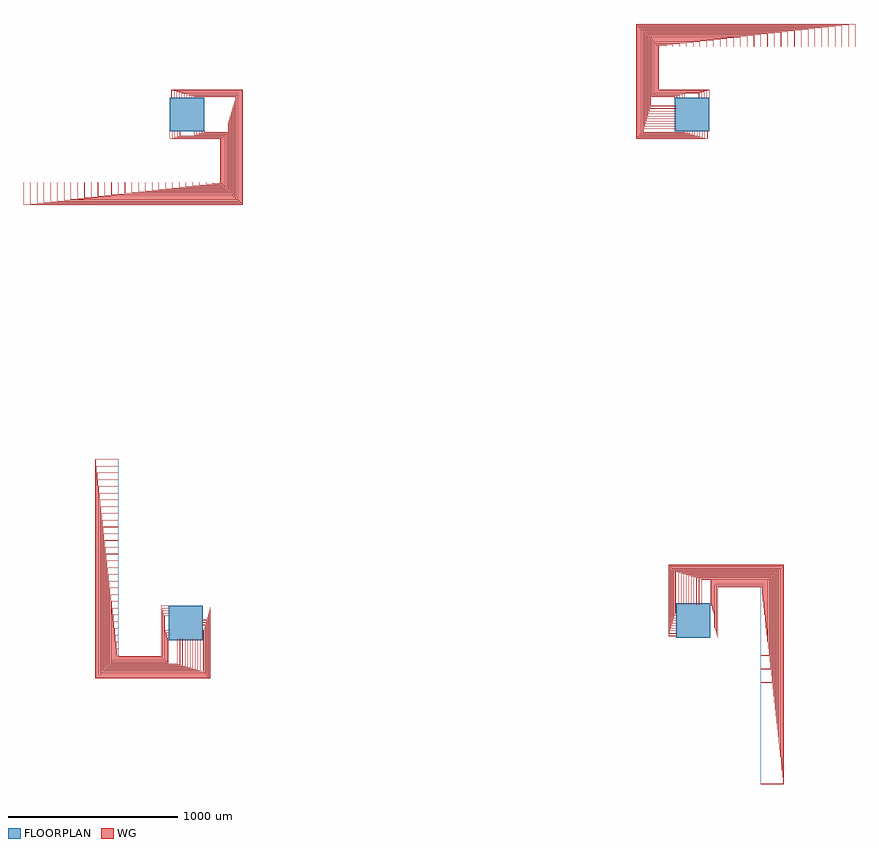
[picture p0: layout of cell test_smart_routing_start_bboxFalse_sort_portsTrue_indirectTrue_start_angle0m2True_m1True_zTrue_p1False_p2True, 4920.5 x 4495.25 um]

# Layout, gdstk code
import gdstk
lib = gdstk.Library(unit=1e-6, precision=1e-09)
def R(c, l, rs):  # rectangles x0, y0, x1, y1
    for r in rs: c.add(gdstk.rectangle(r[:2], r[2:], *l))
def P(c, l, *ps):  # polygons
    for p in ps: c.add(gdstk.Polygon(p, *l))
WG = (1, 0)
FLOORPLAN = (10, 0)

test_smart_routing_start = lib.new_cell('test_smart_routing_start_bboxFalse_sort_portsTrue_indirectTrue_start_angle0m2True_m1True_zTrue_p1False_p2True')
P(test_smart_routing_start, WG, [(3094.75,3100),(3094.75,3144.5),(2795.25,3144.5),(2795.25,3404.5),(2800.25,3404.5),(2800.25,3400),(2799.75,3400),(2799.75,3404),(2795.75,3404),(2795.75,3145),(3095.25,3145),(3095.25,3100)],
  [(3079.75,3100),(3079.75,3140),(2790.75,3140),(2790.75,3409),(2840.25,3409),(2840.25,3400),(2839.75,3400),(2839.75,3408.5),(2791.25,3408.5),(2791.25,3140.5),(3080.25,3140.5),(3080.25,3100)],
  [(3064.75,3100),(3064.75,3135.5),(2786.25,3135.5),(2786.25,3413.5),(2880.25,3413.5),(2880.25,3400),(2879.75,3400),(2879.75,3413),(2786.75,3413),(2786.75,3136),(3065.25,3136),(3065.25,3100)],
  [(3049.75,3100),(3049.75,3131),(2781.75,3131),(2781.75,3418),(2920.25,3418),(2920.25,3400),(2919.75,3400),(2919.75,3417.5),(2782.25,3417.5),(2782.25,3131.5),(3050.25,3131.5),(3050.25,3100)],
  [(3034.75,3100),(3034.75,3126.5),(2777.25,3126.5),(2777.25,3422.5),(2960.25,3422.5),(2960.25,3400),(2959.75,3400),(2959.75,3422),(2777.75,3422),(2777.75,3127),(3035.25,3127),(3035.25,3100)],
  [(2949.75,3100),(2949.75,3122),(2772.75,3122),(2772.75,3427),(3000.25,3427),(3000.25,3400),(2999.75,3400),(2999.75,3426.5),(2773.25,3426.5),(2773.25,3122.5),(2950.25,3122.5),(2950.25,3100)],
  [(2934.75,3100),(2934.75,3117.5),(2768.25,3117.5),(2768.25,3431.5),(3040.25,3431.5),(3040.25,3400),(3039.75,3400),(3039.75,3431),(2768.75,3431),(2768.75,3118),(2935.25,3118),(2935.25,3100)],
  [(2919.75,3100),(2919.75,3113),(2763.75,3113),(2763.75,3436),(3080.25,3436),(3080.25,3400),(3079.75,3400),(3079.75,3435.5),(2764.25,3435.5),(2764.25,3113.5),(2920.25,3113.5),(2920.25,3100)],
  [(2904.75,3100),(2904.75,3108.5),(2759.25,3108.5),(2759.25,3440.5),(3120.25,3440.5),(3120.25,3400),(3119.75,3400),(3119.75,3440),(2759.75,3440),(2759.75,3109),(2905.25,3109),(2905.25,3100)],
  [(2889.75,3100),(2889.75,3104),(2754.75,3104),(2754.75,3445),(3160.25,3445),(3160.25,3400),(3159.75,3400),(3159.75,3444.5),(2755.25,3444.5),(2755.25,3104.5),(2890.25,3104.5),(2890.25,3100)],
  [(2750.25,3049.75),(2750.25,3449.5),(3200.25,3449.5),(3200.25,3400),(3199.75,3400),(3199.75,3449),(2750.75,3449),(2750.75,3050.25),(2900,3050.25),(2900,3049.75)],
  [(2745.75,3034.75),(2745.75,3454),(3240.25,3454),(3240.25,3400),(3239.75,3400),(3239.75,3453.5),(2746.25,3453.5),(2746.25,3035.25),(2900,3035.25),(2900,3034.75)],
  [(2741.25,3019.75),(2741.25,3458.5),(3280.25,3458.5),(3280.25,3400),(3279.75,3400),(3279.75,3458),(2741.75,3458),(2741.75,3020.25),(2900,3020.25),(2900,3019.75)],
  [(2736.75,3004.75),(2736.75,3463),(3320.25,3463),(3320.25,3400),(3319.75,3400),(3319.75,3462.5),(2737.25,3462.5),(2737.25,3005.25),(2900,3005.25),(2900,3004.75)],
  [(2732.25,2989.75),(2732.25,3467.5),(3360.25,3467.5),(3360.25,3400),(3359.75,3400),(3359.75,3467),(2732.75,3467),(2732.75,2990.25),(2900,2990.25),(2900,2989.75)],
  [(2727.75,2974.75),(2727.75,3472),(3400.25,3472),(3400.25,3400),(3399.75,3400),(3399.75,3471.5),(2728.25,3471.5),(2728.25,2975.25),(2900,2975.25),(2900,2974.75)],
  [(2723.25,2959.75),(2723.25,3476.5),(3440.25,3476.5),(3440.25,3400),(3439.75,3400),(3439.75,3476),(2723.75,3476),(2723.75,2960.25),(2900,2960.25),(2900,2959.75)],
  [(2718.75,2944.75),(2718.75,3481),(3480.25,3481),(3480.25,3400),(3479.75,3400),(3479.75,3480.5),(2719.25,3480.5),(2719.25,2945.25),(2900,2945.25),(2900,2944.75)],
  [(2714.25,2929.75),(2714.25,3485.5),(3520.25,3485.5),(3520.25,3400),(3519.75,3400),(3519.75,3485),(2714.75,3485),(2714.75,2930.25),(2900,2930.25),(2900,2929.75)],
  [(2709.75,2914.75),(2709.75,3490),(3560.25,3490),(3560.25,3400),(3559.75,3400),(3559.75,3489.5),(2710.25,3489.5),(2710.25,2915.25),(2900,2915.25),(2900,2914.75)],
  [(2705.25,2895.5),(2705.25,3494.5),(3600.25,3494.5),(3600.25,3400),(3599.75,3400),(3599.75,3494),(2705.75,3494),(2705.75,2896),(2949.75,2896),(2949.75,2900),(2950.25,2900),(2950.25,2895.5)],
  [(2700.75,2891),(2700.75,3499),(3640.25,3499),(3640.25,3400),(3639.75,3400),(3639.75,3498.5),(2701.25,3498.5),(2701.25,2891.5),(2964.75,2891.5),(2964.75,2900),(2965.25,2900),(2965.25,2891)],
  [(2696.25,2886.5),(2696.25,3503.5),(3680.25,3503.5),(3680.25,3400),(3679.75,3400),(3679.75,3503),(2696.75,3503),(2696.75,2887),(2979.75,2887),(2979.75,2900),(2980.25,2900),(2980.25,2886.5)],
  [(2691.75,2882),(2691.75,3508),(3720.25,3508),(3720.25,3400),(3719.75,3400),(3719.75,3507.5),(2692.25,3507.5),(2692.25,2882.5),(2994.75,2882.5),(2994.75,2900),(2995.25,2900),(2995.25,2882)],
  [(2687.25,2877.5),(2687.25,3512.5),(3760.25,3512.5),(3760.25,3400),(3759.75,3400),(3759.75,3512),(2687.75,3512),(2687.75,2878),(3009.75,2878),(3009.75,2900),(3010.25,2900),(3010.25,2877.5)],
  [(2682.75,2873),(2682.75,3517),(3800.25,3517),(3800.25,3400),(3799.75,3400),(3799.75,3516.5),(2683.25,3516.5),(2683.25,2873.5),(3024.75,2873.5),(3024.75,2900),(3025.25,2900),(3025.25,2873)],
  [(2678.25,2868.5),(2678.25,3521.5),(3840.25,3521.5),(3840.25,3400),(3839.75,3400),(3839.75,3521),(2678.75,3521),(2678.75,2869),(3039.75,2869),(3039.75,2900),(3040.25,2900),(3040.25,2868.5)],
  [(2673.75,2864),(2673.75,3526),(3880.25,3526),(3880.25,3400),(3879.75,3400),(3879.75,3525.5),(2674.25,3525.5),(2674.25,2864.5),(3054.75,2864.5),(3054.75,2900),(3055.25,2900),(3055.25,2864)],
  [(2669.25,2859.5),(2669.25,3530.5),(3920.25,3530.5),(3920.25,3400),(3919.75,3400),(3919.75,3530),(2669.75,3530),(2669.75,2860),(3069.75,2860),(3069.75,2900),(3070.25,2900),(3070.25,2859.5)],
  [(2664.75,2855),(2664.75,3535),(3960.25,3535),(3960.25,3400),(3959.75,3400),(3959.75,3534.5),(2665.25,3534.5),(2665.25,2855.5),(3084.75,2855.5),(3084.75,2900),(3085.25,2900),(3085.25,2855)],
  [(199.75,2595.5),(199.75,2600),(200.25,2600),(200.25,2596),(204.25,2596),(204.25,2855),(-95.25,2855),(-95.25,2900),(-94.75,2900),(-94.75,2855.5),(204.75,2855.5),(204.75,2595.5)],
  [(159.75,2591),(159.75,2600),(160.25,2600),(160.25,2591.5),(208.75,2591.5),(208.75,2859.5),(-80.25,2859.5),(-80.25,2900),(-79.75,2900),(-79.75,2860),(209.25,2860),(209.25,2591)],
  [(119.75,2586.5),(119.75,2600),(120.25,2600),(120.25,2587),(213.25,2587),(213.25,2864),(-65.25,2864),(-65.25,2900),(-64.75,2900),(-64.75,2864.5),(213.75,2864.5),(213.75,2586.5)],
  [(79.75,2582),(79.75,2600),(80.25,2600),(80.25,2582.5),(217.75,2582.5),(217.75,2868.5),(-50.25,2868.5),(-50.25,2900),(-49.75,2900),(-49.75,2869),(218.25,2869),(218.25,2582)],
  [(39.75,2577.5),(39.75,2600),(40.25,2600),(40.25,2578),(222.25,2578),(222.25,2873),(-35.25,2873),(-35.25,2900),(-34.75,2900),(-34.75,2873.5),(222.75,2873.5),(222.75,2577.5)],
  [(-0.25,2573),(-0.25,2600),(0.25,2600),(0.25,2573.5),(226.75,2573.5),(226.75,2877.5),(49.75,2877.5),(49.75,2900),(50.25,2900),(50.25,2878),(227.25,2878),(227.25,2573)],
  [(-40.25,2568.5),(-40.25,2600),(-39.75,2600),(-39.75,2569),(231.25,2569),(231.25,2882),(64.75,2882),(64.75,2900),(65.25,2900),(65.25,2882.5),(231.75,2882.5),(231.75,2568.5)],
  [(-80.25,2564),(-80.25,2600),(-79.75,2600),(-79.75,2564.5),(235.75,2564.5),(235.75,2886.5),(79.75,2886.5),(79.75,2900),(80.25,2900),(80.25,2887),(236.25,2887),(236.25,2564)],
  [(-120.25,2559.5),(-120.25,2600),(-119.75,2600),(-119.75,2560),(240.25,2560),(240.25,2891),(94.75,2891),(94.75,2900),(95.25,2900),(95.25,2891.5),(240.75,2891.5),(240.75,2559.5)],
  [(-160.25,2555),(-160.25,2600),(-159.75,2600),(-159.75,2555.5),(244.75,2555.5),(244.75,2895.5),(109.75,2895.5),(109.75,2900),(110.25,2900),(110.25,2896),(245.25,2896),(245.25,2555)],
  [(-200.25,2550.5),(-200.25,2600),(-199.75,2600),(-199.75,2551),(249.25,2551),(249.25,2949.75),(100,2949.75),(100,2950.25),(249.75,2950.25),(249.75,2550.5)],
  [(-240.25,2546),(-240.25,2600),(-239.75,2600),(-239.75,2546.5),(253.75,2546.5),(253.75,2964.75),(100,2964.75),(100,2965.25),(254.25,2965.25),(254.25,2546)],
  [(-280.25,2541.5),(-280.25,2600),(-279.75,2600),(-279.75,2542),(258.25,2542),(258.25,2979.75),(100,2979.75),(100,2980.25),(258.75,2980.25),(258.75,2541.5)],
  [(-320.25,2537),(-320.25,2600),(-319.75,2600),(-319.75,2537.5),(262.75,2537.5),(262.75,2994.75),(100,2994.75),(100,2995.25),(263.25,2995.25),(263.25,2537)],
  [(-360.25,2532.5),(-360.25,2600),(-359.75,2600),(-359.75,2533),(267.25,2533),(267.25,3009.75),(100,3009.75),(100,3010.25),(267.75,3010.25),(267.75,2532.5)],
  [(-400.25,2528),(-400.25,2600),(-399.75,2600),(-399.75,2528.5),(271.75,2528.5),(271.75,3024.75),(100,3024.75),(100,3025.25),(272.25,3025.25),(272.25,2528)],
  [(-440.25,2523.5),(-440.25,2600),(-439.75,2600),(-439.75,2524),(276.25,2524),(276.25,3039.75),(100,3039.75),(100,3040.25),(276.75,3040.25),(276.75,2523.5)],
  [(-480.25,2519),(-480.25,2600),(-479.75,2600),(-479.75,2519.5),(280.75,2519.5),(280.75,3054.75),(100,3054.75),(100,3055.25),(281.25,3055.25),(281.25,2519)],
  [(-520.25,2514.5),(-520.25,2600),(-519.75,2600),(-519.75,2515),(285.25,2515),(285.25,3069.75),(100,3069.75),(100,3070.25),(285.75,3070.25),(285.75,2514.5)],
  [(-560.25,2510),(-560.25,2600),(-559.75,2600),(-559.75,2510.5),(289.75,2510.5),(289.75,3084.75),(100,3084.75),(100,3085.25),(290.25,3085.25),(290.25,2510)],
  [(-600.25,2505.5),(-600.25,2600),(-599.75,2600),(-599.75,2506),(294.25,2506),(294.25,3104),(50.25,3104),(50.25,3100),(49.75,3100),(49.75,3104.5),(294.75,3104.5),(294.75,2505.5)],
  [(-640.25,2501),(-640.25,2600),(-639.75,2600),(-639.75,2501.5),(298.75,2501.5),(298.75,3108.5),(35.25,3108.5),(35.25,3100),(34.75,3100),(34.75,3109),(299.25,3109),(299.25,2501)],
  [(-680.25,2496.5),(-680.25,2600),(-679.75,2600),(-679.75,2497),(303.25,2497),(303.25,3113),(20.25,3113),(20.25,3100),(19.75,3100),(19.75,3113.5),(303.75,3113.5),(303.75,2496.5)],
  [(-720.25,2492),(-720.25,2600),(-719.75,2600),(-719.75,2492.5),(307.75,2492.5),(307.75,3117.5),(5.25,3117.5),(5.25,3100),(4.75,3100),(4.75,3118),(308.25,3118),(308.25,2492)],
  [(-760.25,2487.5),(-760.25,2600),(-759.75,2600),(-759.75,2488),(312.25,2488),(312.25,3122),(-9.75,3122),(-9.75,3100),(-10.25,3100),(-10.25,3122.5),(312.75,3122.5),(312.75,2487.5)],
  [(-800.25,2483),(-800.25,2600),(-799.75,2600),(-799.75,2483.5),(316.75,2483.5),(316.75,3126.5),(-24.75,3126.5),(-24.75,3100),(-25.25,3100),(-25.25,3127),(317.25,3127),(317.25,2483)],
  [(-840.25,2478.5),(-840.25,2600),(-839.75,2600),(-839.75,2479),(321.25,2479),(321.25,3131),(-39.75,3131),(-39.75,3100),(-40.25,3100),(-40.25,3131.5),(321.75,3131.5),(321.75,2478.5)],
  [(-880.25,2474),(-880.25,2600),(-879.75,2600),(-879.75,2474.5),(325.75,2474.5),(325.75,3135.5),(-54.75,3135.5),(-54.75,3100),(-55.25,3100),(-55.25,3136),(326.25,3136),(326.25,2474)],
  [(-920.25,2469.5),(-920.25,2600),(-919.75,2600),(-919.75,2470),(330.25,2470),(330.25,3140),(-69.75,3140),(-69.75,3100),(-70.25,3100),(-70.25,3140.5),(330.75,3140.5),(330.75,2469.5)],
  [(-960.25,2465),(-960.25,2600),(-959.75,2600),(-959.75,2465.5),(334.75,2465.5),(334.75,3144.5),(-84.75,3144.5),(-84.75,3100),(-85.25,3100),(-85.25,3145),(335.25,3145),(335.25,2465)],
  [(-404.5,-204.75),(-404.5,-199.75),(-400,-199.75),(-400,-200.25),(-404,-200.25),(-404,-204.25),(-145,-204.25),(-145,95.25),(-100,95.25),(-100,94.75),(-144.5,94.75),(-144.5,-204.75)],
  [(-409,-209.25),(-409,-159.75),(-400,-159.75),(-400,-160.25),(-408.5,-160.25),(-408.5,-208.75),(-140.5,-208.75),(-140.5,80.25),(-100,80.25),(-100,79.75),(-140,79.75),(-140,-209.25)],
  [(-413.5,-213.75),(-413.5,-119.75),(-400,-119.75),(-400,-120.25),(-413,-120.25),(-413,-213.25),(-136,-213.25),(-136,65.25),(-100,65.25),(-100,64.75),(-135.5,64.75),(-135.5,-213.75)],
  [(-418,-218.25),(-418,-79.75),(-400,-79.75),(-400,-80.25),(-417.5,-80.25),(-417.5,-217.75),(-131.5,-217.75),(-131.5,50.25),(-100,50.25),(-100,49.75),(-131,49.75),(-131,-218.25)],
  [(-422.5,-222.75),(-422.5,-39.75),(-400,-39.75),(-400,-40.25),(-422,-40.25),(-422,-222.25),(-127,-222.25),(-127,35.25),(-100,35.25),(-100,34.75),(-126.5,34.75),(-126.5,-222.75)],
  [(-427,-227.25),(-427,0.25),(-400,0.25),(-400,-0.25),(-426.5,-0.25),(-426.5,-226.75),(-122.5,-226.75),(-122.5,-49.75),(-100,-49.75),(-100,-50.25),(-122,-50.25),(-122,-227.25)],
  [(-431.5,-231.75),(-431.5,40.25),(-400,40.25),(-400,39.75),(-431,39.75),(-431,-231.25),(-118,-231.25),(-118,-64.75),(-100,-64.75),(-100,-65.25),(-117.5,-65.25),(-117.5,-231.75)],
  [(-436,-236.25),(-436,80.25),(-400,80.25),(-400,79.75),(-435.5,79.75),(-435.5,-235.75),(-113.5,-235.75),(-113.5,-79.75),(-100,-79.75),(-100,-80.25),(-113,-80.25),(-113,-236.25)],
  [(-440.5,-240.75),(-440.5,120.25),(-400,120.25),(-400,119.75),(-440,119.75),(-440,-240.25),(-109,-240.25),(-109,-94.75),(-100,-94.75),(-100,-95.25),(-108.5,-95.25),(-108.5,-240.75)],
  [(-445,-245.25),(-445,160.25),(-400,160.25),(-400,159.75),(-444.5,159.75),(-444.5,-244.75),(-104.5,-244.75),(-104.5,-109.75),(-100,-109.75),(-100,-110.25),(-104,-110.25),(-104,-245.25)],
  [(-449.5,-249.75),(-449.5,200.25),(-400,200.25),(-400,199.75),(-449,199.75),(-449,-249.25),(-50.25,-249.25),(-50.25,-100),(-49.75,-100),(-49.75,-249.75)],
  [(-454,-254.25),(-454,240.25),(-400,240.25),(-400,239.75),(-453.5,239.75),(-453.5,-253.75),(-35.25,-253.75),(-35.25,-100),(-34.75,-100),(-34.75,-254.25)],
  [(-458.5,-258.75),(-458.5,280.25),(-400,280.25),(-400,279.75),(-458,279.75),(-458,-258.25),(-20.25,-258.25),(-20.25,-100),(-19.75,-100),(-19.75,-258.75)],
  [(-463,-263.25),(-463,320.25),(-400,320.25),(-400,319.75),(-462.5,319.75),(-462.5,-262.75),(-5.25,-262.75),(-5.25,-100),(-4.75,-100),(-4.75,-263.25)],
  [(-467.5,-267.75),(-467.5,360.25),(-400,360.25),(-400,359.75),(-467,359.75),(-467,-267.25),(9.75,-267.25),(9.75,-100),(10.25,-100),(10.25,-267.75)],
  [(-472,-272.25),(-472,400.25),(-400,400.25),(-400,399.75),(-471.5,399.75),(-471.5,-271.75),(24.75,-271.75),(24.75,-100),(25.25,-100),(25.25,-272.25)],
  [(-476.5,-276.75),(-476.5,440.25),(-400,440.25),(-400,439.75),(-476,439.75),(-476,-276.25),(39.75,-276.25),(39.75,-100),(40.25,-100),(40.25,-276.75)],
  [(-481,-281.25),(-481,480.25),(-400,480.25),(-400,479.75),(-480.5,479.75),(-480.5,-280.75),(54.75,-280.75),(54.75,-100),(55.25,-100),(55.25,-281.25)],
  [(-485.5,-285.75),(-485.5,520.25),(-400,520.25),(-400,519.75),(-485,519.75),(-485,-285.25),(69.75,-285.25),(69.75,-100),(70.25,-100),(70.25,-285.75)],
  [(-490,-290.25),(-490,560.25),(-400,560.25),(-400,559.75),(-489.5,559.75),(-489.5,-289.75),(84.75,-289.75),(84.75,-100),(85.25,-100),(85.25,-290.25)],
  [(-494.5,-294.75),(-494.5,600.25),(-400,600.25),(-400,599.75),(-494,599.75),(-494,-294.25),(104,-294.25),(104,-50.25),(100,-50.25),(100,-49.75),(104.5,-49.75),(104.5,-294.75)],
  [(-499,-299.25),(-499,640.25),(-400,640.25),(-400,639.75),(-498.5,639.75),(-498.5,-298.75),(108.5,-298.75),(108.5,-35.25),(100,-35.25),(100,-34.75),(109,-34.75),(109,-299.25)],
  [(-503.5,-303.75),(-503.5,680.25),(-400,680.25),(-400,679.75),(-503,679.75),(-503,-303.25),(113,-303.25),(113,-20.25),(100,-20.25),(100,-19.75),(113.5,-19.75),(113.5,-303.75)],
  [(-508,-308.25),(-508,720.25),(-400,720.25),(-400,719.75),(-507.5,719.75),(-507.5,-307.75),(117.5,-307.75),(117.5,-5.25),(100,-5.25),(100,-4.75),(118,-4.75),(118,-308.25)],
  [(-512.5,-312.75),(-512.5,760.25),(-400,760.25),(-400,759.75),(-512,759.75),(-512,-312.25),(122,-312.25),(122,9.75),(100,9.75),(100,10.25),(122.5,10.25),(122.5,-312.75)],
  [(-517,-317.25),(-517,800.25),(-400,800.25),(-400,799.75),(-516.5,799.75),(-516.5,-316.75),(126.5,-316.75),(126.5,24.75),(100,24.75),(100,25.25),(127,25.25),(127,-317.25)],
  [(-521.5,-321.75),(-521.5,840.25),(-400,840.25),(-400,839.75),(-521,839.75),(-521,-321.25),(131,-321.25),(131,39.75),(100,39.75),(100,40.25),(131.5,40.25),(131.5,-321.75)],
  [(-526,-326.25),(-526,880.25),(-400,880.25),(-400,879.75),(-525.5,879.75),(-525.5,-325.75),(135.5,-325.75),(135.5,54.75),(100,54.75),(100,55.25),(136,55.25),(136,-326.25)],
  [(-530.5,-330.75),(-530.5,920.25),(-400,920.25),(-400,919.75),(-530,919.75),(-530,-330.25),(140,-330.25),(140,69.75),(100,69.75),(100,70.25),(140.5,70.25),(140.5,-330.75)],
  [(-535,-335.25),(-535,960.25),(-400,960.25),(-400,959.75),(-534.5,959.75),(-534.5,-334.75),(144.5,-334.75),(144.5,84.75),(100,84.75),(100,85.25),(145,85.25),(145,-335.25)],
  [(3100,-95.25),(3100,-94.75),(3144.5,-94.75),(3144.5,204.75),(3404.5,204.75),(3404.5,199.75),(3400,199.75),(3400,200.25),(3404,200.25),(3404,204.25),(3145,204.25),(3145,-95.25)],
  [(3100,-80.25),(3100,-79.75),(3140,-79.75),(3140,209.25),(3409,209.25),(3409,159.75),(3400,159.75),(3400,160.25),(3408.5,160.25),(3408.5,208.75),(3140.5,208.75),(3140.5,-80.25)],
  [(3100,-65.25),(3100,-64.75),(3135.5,-64.75),(3135.5,213.75),(3413.5,213.75),(3413.5,119.75),(3400,119.75),(3400,120.25),(3413,120.25),(3413,213.25),(3136,213.25),(3136,-65.25)],
  [(3100,-50.25),(3100,-49.75),(3131,-49.75),(3131,218.25),(3418,218.25),(3418,79.75),(3400,79.75),(3400,80.25),(3417.5,80.25),(3417.5,217.75),(3131.5,217.75),(3131.5,-50.25)],
  [(3100,-35.25),(3100,-34.75),(3126.5,-34.75),(3126.5,222.75),(3422.5,222.75),(3422.5,39.75),(3400,39.75),(3400,40.25),(3422,40.25),(3422,222.25),(3127,222.25),(3127,-35.25)],
  [(3400,-0.25),(3400,0.25),(3426.5,0.25),(3426.5,226.75),(3122.5,226.75),(3122.5,49.75),(3100,49.75),(3100,50.25),(3122,50.25),(3122,227.25),(3427,227.25),(3427,-0.25)],
  [(3400,-40.25),(3400,-39.75),(3431,-39.75),(3431,231.25),(3118,231.25),(3118,64.75),(3100,64.75),(3100,65.25),(3117.5,65.25),(3117.5,231.75),(3431.5,231.75),(3431.5,-40.25)],
  [(3400,-80.25),(3400,-79.75),(3435.5,-79.75),(3435.5,235.75),(3113.5,235.75),(3113.5,79.75),(3100,79.75),(3100,80.25),(3113,80.25),(3113,236.25),(3436,236.25),(3436,-80.25)],
  [(3400,-120.25),(3400,-119.75),(3440,-119.75),(3440,240.25),(3109,240.25),(3109,94.75),(3100,94.75),(3100,95.25),(3108.5,95.25),(3108.5,240.75),(3440.5,240.75),(3440.5,-120.25)],
  [(3400,-160.25),(3400,-159.75),(3444.5,-159.75),(3444.5,244.75),(3104.5,244.75),(3104.5,109.75),(3100,109.75),(3100,110.25),(3104,110.25),(3104,245.25),(3445,245.25),(3445,-160.25)],
  [(3400,-200.25),(3400,-199.75),(3449,-199.75),(3449,249.25),(3050.25,249.25),(3050.25,100),(3049.75,100),(3049.75,249.75),(3449.5,249.75),(3449.5,-200.25)],
  [(3400,-240.25),(3400,-239.75),(3453.5,-239.75),(3453.5,253.75),(3035.25,253.75),(3035.25,100),(3034.75,100),(3034.75,254.25),(3454,254.25),(3454,-240.25)],
  [(3400,-280.25),(3400,-279.75),(3458,-279.75),(3458,258.25),(3020.25,258.25),(3020.25,100),(3019.75,100),(3019.75,258.75),(3458.5,258.75),(3458.5,-280.25)],
  [(3400,-320.25),(3400,-319.75),(3462.5,-319.75),(3462.5,262.75),(3005.25,262.75),(3005.25,100),(3004.75,100),(3004.75,263.25),(3463,263.25),(3463,-320.25)],
  [(3400,-360.25),(3400,-359.75),(3467,-359.75),(3467,267.25),(2990.25,267.25),(2990.25,100),(2989.75,100),(2989.75,267.75),(3467.5,267.75),(3467.5,-360.25)],
  [(3400,-400.25),(3400,-399.75),(3471.5,-399.75),(3471.5,271.75),(2975.25,271.75),(2975.25,100),(2974.75,100),(2974.75,272.25),(3472,272.25),(3472,-400.25)],
  [(3400,-440.25),(3400,-439.75),(3476,-439.75),(3476,276.25),(2960.25,276.25),(2960.25,100),(2959.75,100),(2959.75,276.75),(3476.5,276.75),(3476.5,-440.25)],
  [(3400,-480.25),(3400,-479.75),(3480.5,-479.75),(3480.5,280.75),(2945.25,280.75),(2945.25,100),(2944.75,100),(2944.75,281.25),(3481,281.25),(3481,-480.25)],
  [(3400,-520.25),(3400,-519.75),(3485,-519.75),(3485,285.25),(2930.25,285.25),(2930.25,100),(2929.75,100),(2929.75,285.75),(3485.5,285.75),(3485.5,-520.25)],
  [(3400,-560.25),(3400,-559.75),(3489.5,-559.75),(3489.5,289.75),(2915.25,289.75),(2915.25,100),(2914.75,100),(2914.75,290.25),(3490,290.25),(3490,-560.25)],
  [(3400,-600.25),(3400,-599.75),(3494,-599.75),(3494,294.25),(2896,294.25),(2896,50.25),(2900,50.25),(2900,49.75),(2895.5,49.75),(2895.5,294.75),(3494.5,294.75),(3494.5,-600.25)],
  [(3400,-640.25),(3400,-639.75),(3498.5,-639.75),(3498.5,298.75),(2891.5,298.75),(2891.5,35.25),(2900,35.25),(2900,34.75),(2891,34.75),(2891,299.25),(3499,299.25),(3499,-640.25)],
  [(3400,-680.25),(3400,-679.75),(3503,-679.75),(3503,303.25),(2887,303.25),(2887,20.25),(2900,20.25),(2900,19.75),(2886.5,19.75),(2886.5,303.75),(3503.5,303.75),(3503.5,-680.25)],
  [(3400,-720.25),(3400,-719.75),(3507.5,-719.75),(3507.5,307.75),(2882.5,307.75),(2882.5,5.25),(2900,5.25),(2900,4.75),(2882,4.75),(2882,308.25),(3508,308.25),(3508,-720.25)],
  [(3400,-760.25),(3400,-759.75),(3512,-759.75),(3512,312.25),(2878,312.25),(2878,-9.75),(2900,-9.75),(2900,-10.25),(2877.5,-10.25),(2877.5,312.75),(3512.5,312.75),(3512.5,-760.25)],
  [(3400,-800.25),(3400,-799.75),(3516.5,-799.75),(3516.5,316.75),(2873.5,316.75),(2873.5,-24.75),(2900,-24.75),(2900,-25.25),(2873,-25.25),(2873,317.25),(3517,317.25),(3517,-800.25)],
  [(3400,-840.25),(3400,-839.75),(3521,-839.75),(3521,321.25),(2869,321.25),(2869,-39.75),(2900,-39.75),(2900,-40.25),(2868.5,-40.25),(2868.5,321.75),(3521.5,321.75),(3521.5,-840.25)],
  [(3400,-880.25),(3400,-879.75),(3525.5,-879.75),(3525.5,325.75),(2864.5,325.75),(2864.5,-54.75),(2900,-54.75),(2900,-55.25),(2864,-55.25),(2864,326.25),(3526,326.25),(3526,-880.25)],
  [(3400,-920.25),(3400,-919.75),(3530,-919.75),(3530,330.25),(2860,330.25),(2860,-69.75),(2900,-69.75),(2900,-70.25),(2859.5,-70.25),(2859.5,330.75),(3530.5,330.75),(3530.5,-920.25)],
  [(3400,-960.25),(3400,-959.75),(3534.5,-959.75),(3534.5,334.75),(2855.5,334.75),(2855.5,-84.75),(2900,-84.75),(2900,-85.25),(2855,-85.25),(2855,335.25),(3535,335.25),(3535,-960.25)])
R(test_smart_routing_start, FLOORPLAN, [(-100,-110,100,95), (2900,-95,3100,110), (-95,2900,110,3100), (2890,2900,3095,3100)])
P(test_smart_routing_start, FLOORPLAN, [(-400,-200),(-400,960),(-400,960),(-400,-200)],
  [(-960,2600),(-960,2600),(200,2600),(200,2600)],
  [(3400,-960),(3400,200),(3400,200),(3400,-960)],
  [(2800,3400),(2800,3400),(3960,3400),(3960,3400)])

lib.write_gds('test_smart_routing_start_bboxFalse_sort_portsTrue_indirectTrue_start_angle0m2True_m1True_zTrue_p1False_p2True.gds')
